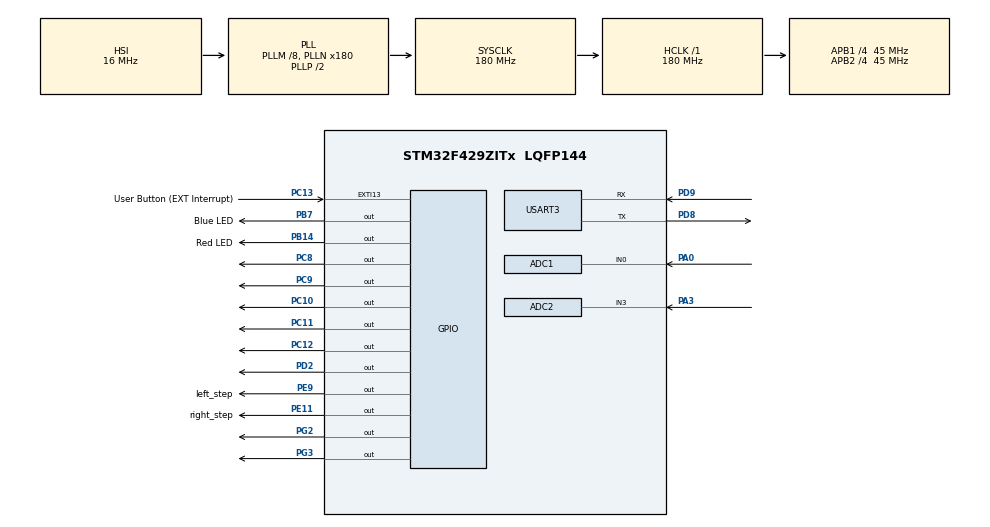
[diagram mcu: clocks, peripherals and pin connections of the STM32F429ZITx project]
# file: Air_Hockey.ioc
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ADC1.Channel-0\#ChannelRegularConversion=ADC_CHANNEL_0
ADC1.ClockPrescaler=ADC_CLOCK_SYNC_PCLK_DIV2
ADC1.ContinuousConvMode=DISABLE
ADC1.DMAContinuousRequests=DISABLE
ADC1.DataAlign=ADC_DATAALIGN_RIGHT
ADC1.DiscontinuousConvMode=DISABLE
ADC1.EOCSelection=ADC_EOC_SINGLE_CONV
ADC1.EnableAnalogWatchDog=false
ADC1.ExternalTrigConv=ADC_SOFTWARE_START
ADC1.ExternalTrigConvEdge=ADC_EXTERNALTRIGCONVEDGE_NONE
ADC1.InjNumberOfConversion=0
ADC1.NbrOfConversion=1
ADC1.NbrOfConversionFlag=1
ADC1.Rank-0\#ChannelRegularConversion=1
ADC1.Resolution=ADC_RESOLUTION_12B
ADC1.SamplingTime-0\#ChannelRegularConversion=ADC_SAMPLETIME_3CYCLES
ADC1.ScanConvMode=DISABLE
ADC1.master=1
ADC2.Channel-12\#ChannelRegularConversion=ADC_CHANNEL_3
ADC2.NbrOfConversionFlag=1
ADC2.Rank-12\#ChannelRegularConversion=1
ADC2.SamplingTime-12\#ChannelRegularConversion=ADC_SAMPLETIME_3CYCLES
Mcu.Family=STM32F4
Mcu.Name=STM32F429ZITx
Mcu.Package=LQFP144
NVIC.EXTI15_10_IRQn=true\:0\:0\:false\:false\:true\:true
NVIC.PriorityGroup=NVIC_PRIORITYGROUP_4
NVIC.TIM1_UP_TIM10_IRQn=true\:0\:0\:false\:false\:true\:true
NVIC.USART3_IRQn=true\:0\:0\:false\:false\:true\:true
PA0/WKUP.Signal=ADCx_IN0
PA13.Mode=Serial_Wire
PA13.Signal=SYS_JTMS-SWDIO
PA14.Mode=Serial_Wire
PA14.Signal=SYS_JTCK-SWCLK
PA3.Signal=ADCx_IN3
PB14.GPIO_Label=Red LED
PB14.Signal=GPIO_Output
PB7.GPIO_Label=Blue LED
PB7.Signal=GPIO_Output
PC10.Signal=GPIO_Output
PC11.Signal=GPIO_Output
PC12.Signal=GPIO_Output
PC13.GPIO_Label=User Button (EXT Interrupt)
PC13.Signal=GPXTI13
PC14/OSC32_IN.Mode=LSE-External-Oscillator
PC14/OSC32_IN.Signal=RCC_OSC32_IN
PC15/OSC32_OUT.Mode=LSE-External-Oscillator
PC15/OSC32_OUT.Signal=RCC_OSC32_OUT
PC8.Signal=GPIO_Output
PC9.Signal=GPIO_Output
PD2.Signal=GPIO_Output
PD8.Mode=Asynchronous
PD8.Signal=USART3_TX
PD9.Mode=Asynchronous
PD9.Signal=USART3_RX
PE11.GPIO_Label=right_step
PE11.Signal=GPIO_Output
PE9.GPIO_Label=left_step
PE9.Signal=GPIO_Output
PG2.Signal=GPIO_Output
PG3.Signal=GPIO_Output
PH0/OSC_IN.Mode=HSE-External-Oscillator
PH0/OSC_IN.Signal=RCC_OSC_IN
PH1/OSC_OUT.Mode=HSE-External-Oscillator
PH1/OSC_OUT.Signal=RCC_OSC_OUT
ProjectManager.HeapSize=0x200
ProjectManager.StackSize=0x400
ProjectManager.TargetToolchain=SW4STM32
RCC.48MHZClocksFreq_Value=90000000
RCC.AHBFreq_Value=180000000
RCC.APB1CLKDivider=RCC_HCLK_DIV4
RCC.APB1Freq_Value=45000000
RCC.APB1TimFreq_Value=90000000
RCC.APB2CLKDivider=RCC_HCLK_DIV4
RCC.APB2Freq_Value=45000000
RCC.APB2TimFreq_Value=90000000
RCC.CortexFreq_Value=180000000
RCC.HCLKFreq_Value=180000000
RCC.HSE_VALUE=25000000
RCC.HSI_VALUE=16000000
RCC.PLLM=8
RCC.PLLN=180
RCC.SYSCLKFreq_VALUE=180000000
RCC.SYSCLKSource=RCC_SYSCLKSOURCE_PLLCLK
RCC.VCOOutputFreq_Value=360000000
SH.ADCx_IN0.0=ADC1_IN0,IN0
SH.ADCx_IN3.0=ADC2_IN3,IN3
TIM1.Period=80
TIM1.Prescaler=500
USART3.VirtualMode=VM_ASYNC
VP_TIM1_VS_ClockSourceINT.Mode=Internal
VP_TIM3_VS_ClockSourceINT.Mode=Internal
board=custom

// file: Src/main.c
/**
  ******************************************************************************
  * @file           : main.c
  * @brief          : Main program body
  ******************************************************************************
  ** This notice applies to any and all portions of this file
  * that are not between comment pairs USER CODE BEGIN and
  * USER CODE END. Other portions of this file, whether
  * inserted by the user or by software development tools
  * are owned by their respective copyright owners.
  *
  * COPYRIGHT(c) 2018 STMicroelectronics
  *
  * Redistribution and use in source and binary forms, with or without modification,
  * are permitted provided that the following conditions are met:
  *   1. Redistributions of source code must retain the above copyright notice,
  *      this list of conditions and the following disclaimer.
  *   2. Redistributions in binary form must reproduce the above copyright notice,
  *      this list of conditions and the following disclaimer in the documentation
  *      and/or other materials provided with the distribution.
  *   3. Neither the name of STMicroelectronics nor the names of its contributors
  *      may be used to endorse or promote products derived from this software
  *      without specific prior written permission.
  *
  * THIS SOFTWARE IS PROVIDED BY THE COPYRIGHT HOLDERS AND CONTRIBUTORS "AS IS"
  * AND ANY EXPRESS OR IMPLIED WARRANTIES, INCLUDING, BUT NOT LIMITED TO, THE
  * IMPLIED WARRANTIES OF MERCHANTABILITY AND FITNESS FOR A PARTICULAR PURPOSE ARE
  * DISCLAIMED. IN NO EVENT SHALL THE COPYRIGHT HOLDER OR CONTRIBUTORS BE LIABLE
  * FOR ANY DIRECT, INDIRECT, INCIDENTAL, SPECIAL, EXEMPLARY, OR CONSEQUENTIAL
  * DAMAGES (INCLUDING, BUT NOT LIMITED TO, PROCUREMENT OF SUBSTITUTE GOODS OR
  * SERVICES; LOSS OF USE, DATA, OR PROFITS; OR BUSINESS INTERRUPTION) HOWEVER
  * CAUSED AND ON ANY THEORY OF LIABILITY, WHETHER IN CONTRACT, STRICT LIABILITY,
  * OR TORT (INCLUDING NEGLIGENCE OR OTHERWISE) ARISING IN ANY WAY OUT OF THE USE
  * OF THIS SOFTWARE, EVEN IF ADVISED OF THE POSSIBILITY OF SUCH DAMAGE.
  *
  ******************************************************************************
  */
#include "main.h"
#include "stm32f4xx_hal.h"

/* USER CODE BEGIN Includes */
#include "lwj.h"
#include <stdio.h>
#include <string.h>
#include <stdlib.h>
/* USER CODE END Includes */

ADC_HandleTypeDef hadc1;
ADC_HandleTypeDef hadc2;

TIM_HandleTypeDef htim1;
TIM_HandleTypeDef htim3;

UART_HandleTypeDef huart3;

/* USER CODE BEGIN PV */
/* Private variables ---------------------------------------------------------*/

/* USER CODE END PV */

void SystemClock_Config(void);
static void MX_GPIO_Init(void);
static void MX_TIM1_Init(void);
static void MX_USART3_UART_Init(void);
static void MX_TIM3_Init(void);
static void MX_ADC1_Init(void);
static void MX_ADC2_Init(void);

/* USER CODE BEGIN PFP */
/* Private function prototypes -----------------------------------------------*/

/* USER CODE END PFP */

/* USER CODE BEGIN 0 */
extern uint16_t pulse_count1;
extern uint16_t pulse_count2;
extern uint8_t step_flag;

void HAL_TIM_PeriodElapsedCallback(TIM_HandleTypeDef *htim)
{
  UNUSED(htim);

  if(htim->Instance==TIM1)						//	타이머 인터럽트 1으로 선택.
  {
    if(pulse_count1 != 0)						//	펄스값이 0이 아닐 경우에만 작동.
    {
      pulse_count1--;							//	입력된 펄스 갯수를 다운 카운트. (Pulse_count1 = 입력펄스 * 2)
      HAL_GPIO_TogglePin(GPIOE, GPIO_PIN_9);	//	펄스파형 발생 (토글) 왼쪽 스텝 모터
    }

    if(pulse_count2 != 0)						//	오른쪽 스텝 모터
    {
      pulse_count2--;
      HAL_GPIO_TogglePin(GPIOE, GPIO_PIN_11);
    }

    if((pulse_count1 == 0) && (pulse_count2 == 0))	//	두 모터의 입력된 펄스값이 없을 경우에 타이머 카운터 작동 멈춤.
    {
      HAL_TIM_Base_Stop_IT(htim);
      step_flag = 0;
    }
  }

}

uint8_t Rx_data[3];
uint8_t str[7];
uint8_t str1[13];
uint32_t step_level;

void HAL_UART_RxCpltCallback(UART_HandleTypeDef *huart)
{
  /* Prevent unused argument(s) compilation warning */
  UNUSED(huart);

  if(huart->Instance == USART3)
  {
	  HAL_UART_Receive_IT(&huart3, Rx_data, 3);
	  sprintf(str1, "str1:%d,%d,%d\r\n", Rx_data[0],Rx_data[1],Rx_data[2]);		//	입력된 값의 아스키코드값 확인용.
	  HAL_UART_Transmit(&huart3, str1, strlen(str1), 10);

	  step_level = (atoi(&Rx_data[0]));						//	수신한 값을 정수형으로 변환 (스텝모터 통제 값으로 전송하기 위해) 0~20 까지.
	  sprintf(str, "str:%d\r\n", step_level);				//	값을 확인하기 위함.
	  HAL_UART_Transmit(&huart3, str, sizeof(str), 10);		//	인터럽트 값 시리얼 통신 확인용 값 출력.

	  step_flag = 1;
  }

}

/* USER CODE END 0 */

int main(void)
{

  /* MCU Configuration----------------------------------------------------------*/

  /* Reset of all peripherals, Initializes the Flash interface and the Systick. */
  HAL_Init();

  /* Configure the system clock */
  SystemClock_Config();

  /* Initialize all configured peripherals */
  MX_GPIO_Init();
  MX_TIM1_Init();
  MX_USART3_UART_Init();
  MX_TIM3_Init();
  MX_ADC1_Init();
  MX_ADC2_Init();
  /* USER CODE BEGIN 2 */

  HAL_UART_Receive_IT(&huart3, Rx_data, 3);		//	UART Receive 인터럽트 실행. (3byte 가 찰 때 인터럽트)

  /* USER CODE END 2 */

  /* Infinite loop */
  /* USER CODE BEGIN WHILE */
  extern int dir;
  int pulse = 0;
  extern int temp;

  char buf[7];
  char str[7];

  HAL_GPIO_WritePin(GPIOE, GPIO_PIN_9, 0);
  HAL_GPIO_WritePin(GPIOE, GPIO_PIN_11, 0);
  step_flag = 0;

  /*	초기화 하기 전에 주의사항
   *
   * 	하키채를 수동으로 직접 왼쪽 끝까지 쭉 밀어서  초기 원점을 잡아준다.
   * 	그리고나서 다음 아래 초기화 함수가 실행 되었을 때, 하키채가 가운데에 위치해야 한다.
   *
   * */

  Init_Step();		//	하키채 초기화 함수.

  while (1)
  {

/*
	  if(step_flag == 0)
	  {
		Step_pulse(500, MOTOR_RIGHT, dir);
		if(!Step_pulse(500,MOTOR_LEFT,dir))	//	0이 아닐 경우에 실행.
		{
		  pulse_start();
		  dir = !dir;
		  HAL_Delay(1000);
		}
	  }*/

	  /*
	  if(step_flag == 1)
	  {
		  if(Rx_data[2] == 68)	//	left
		  {
			  dir = CLK_WISE;

		  }
		  else if(Rx_data[2] == 67)	//	Right
		  {
			  dir = CNT_CLK_WISE;

		  }
		  Step_pulse(temp, MOTOR_LEFT, dir);
		  Step_pulse(temp, MOTOR_RIGHT, dir);
		  pulse_start();
	  }*/

	  Step_Rx_Data(step_level);
	  Step_Manual_Control();

  /* USER CODE END WHILE */

  }

}

void SystemClock_Config(void)
{

  RCC_OscInitTypeDef RCC_OscInitStruct;
  RCC_ClkInitTypeDef RCC_ClkInitStruct;

    /**Configure the main internal regulator output voltage
    */
  __HAL_RCC_PWR_CLK_ENABLE();

  __HAL_PWR_VOLTAGESCALING_CONFIG(PWR_REGULATOR_VOLTAGE_SCALE1);

    /**Initializes the CPU, AHB and APB busses clocks
    */
  RCC_OscInitStruct.OscillatorType = RCC_OSCILLATORTYPE_HSI;
  RCC_OscInitStruct.HSIState = RCC_HSI_ON;
  RCC_OscInitStruct.HSICalibrationValue = 16;
  RCC_OscInitStruct.PLL.PLLState = RCC_PLL_ON;
  RCC_OscInitStruct.PLL.PLLSource = RCC_PLLSOURCE_HSI;
  RCC_OscInitStruct.PLL.PLLM = 8;
  RCC_OscInitStruct.PLL.PLLN = 180;
  RCC_OscInitStruct.PLL.PLLP = RCC_PLLP_DIV2;
  RCC_OscInitStruct.PLL.PLLQ = 4;
  if (HAL_RCC_OscConfig(&RCC_OscInitStruct) != HAL_OK)
  {
    _Error_Handler(__FILE__, __LINE__);
  }

    /**Activate the Over-Drive mode
    */
  if (HAL_PWREx_EnableOverDrive() != HAL_OK)
  {
    _Error_Handler(__FILE__, __LINE__);
  }

    /**Initializes the CPU, AHB and APB busses clocks
    */
  RCC_ClkInitStruct.ClockType = RCC_CLOCKTYPE_HCLK|RCC_CLOCKTYPE_SYSCLK
                              |RCC_CLOCKTYPE_PCLK1|RCC_CLOCKTYPE_PCLK2;
  RCC_ClkInitStruct.SYSCLKSource = RCC_SYSCLKSOURCE_PLLCLK;
  RCC_ClkInitStruct.AHBCLKDivider = RCC_SYSCLK_DIV1;
  RCC_ClkInitStruct.APB1CLKDivider = RCC_HCLK_DIV4;
  RCC_ClkInitStruct.APB2CLKDivider = RCC_HCLK_DIV4;

  if (HAL_RCC_ClockConfig(&RCC_ClkInitStruct, FLASH_LATENCY_5) != HAL_OK)
  {
    _Error_Handler(__FILE__, __LINE__);
  }

    /**Configure the Systick interrupt time
    */
  HAL_SYSTICK_Config(HAL_RCC_GetHCLKFreq()/1000);

    /**Configure the Systick
    */
  HAL_SYSTICK_CLKSourceConfig(SYSTICK_CLKSOURCE_HCLK);

  /* SysTick_IRQn interrupt configuration */
  HAL_NVIC_SetPriority(SysTick_IRQn, 0, 0);
}

/* ADC1 init function */
static void MX_ADC1_Init(void)
{

  ADC_ChannelConfTypeDef sConfig;

    /**Configure the global features of the ADC (Clock, Resolution, Data Alignment and number of conversion)
    */
  hadc1.Instance = ADC1;
  hadc1.Init.ClockPrescaler = ADC_CLOCK_SYNC_PCLK_DIV2;
  hadc1.Init.Resolution = ADC_RESOLUTION_12B;
  hadc1.Init.ScanConvMode = DISABLE;
  hadc1.Init.ContinuousConvMode = DISABLE;
  hadc1.Init.DiscontinuousConvMode = DISABLE;
  hadc1.Init.ExternalTrigConvEdge = ADC_EXTERNALTRIGCONVEDGE_NONE;
  hadc1.Init.ExternalTrigConv = ADC_SOFTWARE_START;
  hadc1.Init.DataAlign = ADC_DATAALIGN_RIGHT;
  hadc1.Init.NbrOfConversion = 1;
  hadc1.Init.DMAContinuousRequests = DISABLE;
  hadc1.Init.EOCSelection = ADC_EOC_SINGLE_CONV;
  if (HAL_ADC_Init(&hadc1) != HAL_OK)
  {
    _Error_Handler(__FILE__, __LINE__);
  }

    /**Configure for the selected ADC regular channel its corresponding rank in the sequencer and its sample time.
    */
  sConfig.Channel = ADC_CHANNEL_0;
  sConfig.Rank = 1;
  sConfig.SamplingTime = ADC_SAMPLETIME_3CYCLES;
  if (HAL_ADC_ConfigChannel(&hadc1, &sConfig) != HAL_OK)
  {
    _Error_Handler(__FILE__, __LINE__);
  }

}

/* ADC2 init function */
static void MX_ADC2_Init(void)
{

  ADC_ChannelConfTypeDef sConfig;

    /**Configure the global features of the ADC (Clock, Resolution, Data Alignment and number of conversion)
    */
  hadc2.Instance = ADC2;
  hadc2.Init.ClockPrescaler = ADC_CLOCK_SYNC_PCLK_DIV2;
  hadc2.Init.Resolution = ADC_RESOLUTION_12B;
  hadc2.Init.ScanConvMode = DISABLE;
  hadc2.Init.ContinuousConvMode = DISABLE;
  hadc2.Init.DiscontinuousConvMode = DISABLE;
  hadc2.Init.ExternalTrigConvEdge = ADC_EXTERNALTRIGCONVEDGE_NONE;
  hadc2.Init.ExternalTrigConv = ADC_SOFTWARE_START;
  hadc2.Init.DataAlign = ADC_DATAALIGN_RIGHT;
  hadc2.Init.NbrOfConversion = 1;
  hadc2.Init.DMAContinuousRequests = DISABLE;
  hadc2.Init.EOCSelection = ADC_EOC_SINGLE_CONV;
  if (HAL_ADC_Init(&hadc2) != HAL_OK)
  {
    _Error_Handler(__FILE__, __LINE__);
  }

    /**Configure for the selected ADC regular channel its corresponding rank in the sequencer and its sample time.
    */
  sConfig.Channel = ADC_CHANNEL_3;
  sConfig.Rank = 1;
  sConfig.SamplingTime = ADC_SAMPLETIME_3CYCLES;
  if (HAL_ADC_ConfigChannel(&hadc2, &sConfig) != HAL_OK)
  {
    _Error_Handler(__FILE__, __LINE__);
  }

}

/* TIM1 init function */
static void MX_TIM1_Init(void)
{

  TIM_ClockConfigTypeDef sClockSourceConfig;
  TIM_MasterConfigTypeDef sMasterConfig;

  htim1.Instance = TIM1;
  htim1.Init.Prescaler = 500;
  htim1.Init.CounterMode = TIM_COUNTERMODE_UP;
  htim1.Init.Period = 80;
  htim1.Init.ClockDivision = TIM_CLOCKDIVISION_DIV1;
  htim1.Init.RepetitionCounter = 0;
  if (HAL_TIM_Base_Init(&htim1) != HAL_OK)
  {
    _Error_Handler(__FILE__, __LINE__);
  }

  sClockSourceConfig.ClockSource = TIM_CLOCKSOURCE_INTERNAL;
  if (HAL_TIM_ConfigClockSource(&htim1, &sClockSourceConfig) != HAL_OK)
  {
    _Error_Handler(__FILE__, __LINE__);
  }

  sMasterConfig.MasterOutputTrigger = TIM_TRGO_RESET;
  sMasterConfig.MasterSlaveMode = TIM_MASTERSLAVEMODE_DISABLE;
  if (HAL_TIMEx_MasterConfigSynchronization(&htim1, &sMasterConfig) != HAL_OK)
  {
    _Error_Handler(__FILE__, __LINE__);
  }

}

/* TIM3 init function */
static void MX_TIM3_Init(void)
{

  TIM_ClockConfigTypeDef sClockSourceConfig;
  TIM_MasterConfigTypeDef sMasterConfig;

  htim3.Instance = TIM3;
  htim3.Init.Prescaler = 0;
  htim3.Init.CounterMode = TIM_COUNTERMODE_UP;
  htim3.Init.Period = 0;
  htim3.Init.ClockDivision = TIM_CLOCKDIVISION_DIV1;
  if (HAL_TIM_Base_Init(&htim3) != HAL_OK)
  {
    _Error_Handler(__FILE__, __LINE__);
  }

  sClockSourceConfig.ClockSource = TIM_CLOCKSOURCE_INTERNAL;
  if (HAL_TIM_ConfigClockSource(&htim3, &sClockSourceConfig) != HAL_OK)
  {
    _Error_Handler(__FILE__, __LINE__);
  }

  sMasterConfig.MasterOutputTrigger = TIM_TRGO_RESET;
  sMasterConfig.MasterSlaveMode = TIM_MASTERSLAVEMODE_DISABLE;
  if (HAL_TIMEx_MasterConfigSynchronization(&htim3, &sMasterConfig) != HAL_OK)
  {
    _Error_Handler(__FILE__, __LINE__);
  }

}

/* USART3 init function */
static void MX_USART3_UART_Init(void)
{

  huart3.Instance = USART3;
  huart3.Init.BaudRate = 115200;
  huart3.Init.WordLength = UART_WORDLENGTH_8B;
  huart3.Init.StopBits = UART_STOPBITS_1;
  huart3.Init.Parity = UART_PARITY_NONE;
  huart3.Init.Mode = UART_MODE_TX_RX;
  huart3.Init.HwFlowCtl = UART_HWCONTROL_NONE;
  huart3.Init.OverSampling = UART_OVERSAMPLING_16;
  if (HAL_UART_Init(&huart3) != HAL_OK)
  {
    _Error_Handler(__FILE__, __LINE__);
  }

}

/** Configure pins as
        * Analog
        * Input
        * Output
        * EVENT_OUT
        * EXTI
*/
static void MX_GPIO_Init(void)
{

  GPIO_InitTypeDef GPIO_InitStruct;

  /* GPIO Ports Clock Enable */
  __HAL_RCC_GPIOC_CLK_ENABLE();
  __HAL_RCC_GPIOH_CLK_ENABLE();
  __HAL_RCC_GPIOA_CLK_ENABLE();
  __HAL_RCC_GPIOE_CLK_ENABLE();
  __HAL_RCC_GPIOB_CLK_ENABLE();
  __HAL_RCC_GPIOD_CLK_ENABLE();
  __HAL_RCC_GPIOG_CLK_ENABLE();

  /*Configure GPIO pin Output Level */
  HAL_GPIO_WritePin(GPIOE, left_step_Pin|right_step_Pin, GPIO_PIN_RESET);

  /*Configure GPIO pin Output Level */
  HAL_GPIO_WritePin(GPIOB, Red_LED_Pin|Blue_LED_Pin, GPIO_PIN_RESET);

  /*Configure GPIO pin Output Level */
  HAL_GPIO_WritePin(GPIOG, GPIO_PIN_2|GPIO_PIN_3, GPIO_PIN_RESET);

  /*Configure GPIO pin Output Level */
  HAL_GPIO_WritePin(GPIOC, GPIO_PIN_8|GPIO_PIN_9|GPIO_PIN_10|GPIO_PIN_11
                          |GPIO_PIN_12, GPIO_PIN_RESET);

  /*Configure GPIO pin Output Level */
  HAL_GPIO_WritePin(GPIOD, GPIO_PIN_2, GPIO_PIN_RESET);

  /*Configure GPIO pin : User_Button_Pin */
  GPIO_InitStruct.Pin = User_Button_Pin;
  GPIO_InitStruct.Mode = GPIO_MODE_IT_RISING;
  GPIO_InitStruct.Pull = GPIO_NOPULL;
  HAL_GPIO_Init(User_Button_GPIO_Port, &GPIO_InitStruct);

  /*Configure GPIO pins : left_step_Pin right_step_Pin */
  GPIO_InitStruct.Pin = left_step_Pin|right_step_Pin;
  GPIO_InitStruct.Mode = GPIO_MODE_OUTPUT_PP;
  GPIO_InitStruct.Pull = GPIO_NOPULL;
  GPIO_InitStruct.Speed = GPIO_SPEED_FREQ_LOW;
  HAL_GPIO_Init(GPIOE, &GPIO_InitStruct);

  /*Configure GPIO pins : Red_LED_Pin Blue_LED_Pin */
  GPIO_InitStruct.Pin = Red_LED_Pin|Blue_LED_Pin;
  GPIO_InitStruct.Mode = GPIO_MODE_OUTPUT_PP;
  GPIO_InitStruct.Pull = GPIO_NOPULL;
  GPIO_InitStruct.Speed = GPIO_SPEED_FREQ_LOW;
  HAL_GPIO_Init(GPIOB, &GPIO_InitStruct);

  /*Configure GPIO pins : PG2 PG3 */
  GPIO_InitStruct.Pin = GPIO_PIN_2|GPIO_PIN_3;
  GPIO_InitStruct.Mode = GPIO_MODE_OUTPUT_PP;
  GPIO_InitStruct.Pull = GPIO_NOPULL;
  GPIO_InitStruct.Speed = GPIO_SPEED_FREQ_LOW;
  HAL_GPIO_Init(GPIOG, &GPIO_InitStruct);

  /*Configure GPIO pins : PC8 PC9 PC10 PC11
                           PC12 */
  GPIO_InitStruct.Pin = GPIO_PIN_8|GPIO_PIN_9|GPIO_PIN_10|GPIO_PIN_11
                          |GPIO_PIN_12;
  GPIO_InitStruct.Mode = GPIO_MODE_OUTPUT_PP;
  GPIO_InitStruct.Pull = GPIO_NOPULL;
  GPIO_InitStruct.Speed = GPIO_SPEED_FREQ_LOW;
  HAL_GPIO_Init(GPIOC, &GPIO_InitStruct);

  /*Configure GPIO pin : PD2 */
  GPIO_InitStruct.Pin = GPIO_PIN_2;
  GPIO_InitStruct.Mode = GPIO_MODE_OUTPUT_PP;
  GPIO_InitStruct.Pull = GPIO_NOPULL;
  GPIO_InitStruct.Speed = GPIO_SPEED_FREQ_LOW;
  HAL_GPIO_Init(GPIOD, &GPIO_InitStruct);

  /* EXTI interrupt init*/
  HAL_NVIC_SetPriority(EXTI15_10_IRQn, 0, 0);
  HAL_NVIC_EnableIRQ(EXTI15_10_IRQn);

}

void _Error_Handler(char *file, int line)
{
  while(1)
  {
  }
}

/************************ (C) COPYRIGHT STMicroelectronics *****END OF FILE****/
